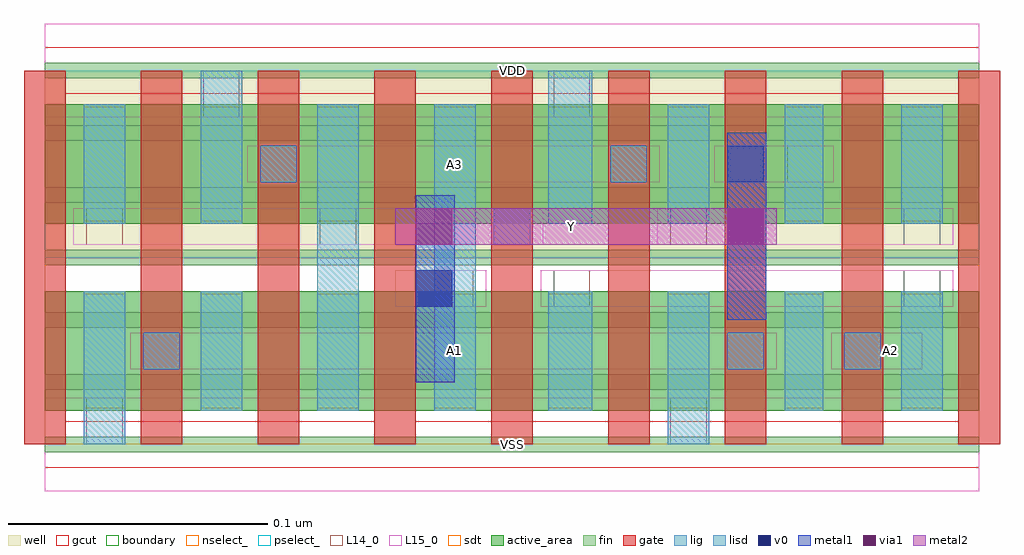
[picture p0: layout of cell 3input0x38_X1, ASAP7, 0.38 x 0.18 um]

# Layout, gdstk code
import gdstk
lib = gdstk.Library(unit=1e-6, precision=1e-09)
def R(c, l, rs):  # rectangles x0, y0, x1, y1
    for r in rs: c.add(gdstk.rectangle(r[:2], r[2:], *l))
def A(c, l, x, y, w, h, nx, ny, dx, dy):  # array of equal rectangles
    R(c, l, [(x+i*dx, y+j*dy, x+i*dx+w, y+j*dy+h) for i in range(nx) for j in range(ny)])
def P(c, l, *ps):  # polygons
    for p in ps: c.add(gdstk.Polygon(p, *l))
well = (1, 0)
fin = (2, 0)
gate = (7, 0)
gcut = (10, 0)
active_area = (11, 0)
nselect_ = (12, 0)
pselect_ = (13, 0)
L14_0 = (14, 0)
L15_0 = (15, 0)
lig = (16, 0)
lisd = (17, 0)
v0 = (18, 0)
metal1 = (19, 0)
metal2 = (20, 0)
via1 = (21, 0)
sdt = (88, 0)
boundary = (100, 0)

c_3input0x38_x1 = lib.new_cell('3input0x38_X1')
R(c_3input0x38_x1, well, [(0,0.072,0.36,0.144)])
A(c_3input0x38_x1, fin, 0, -0.003, 0.36, 0.006, 1, 7, 0, 0.024)
A(c_3input0x38_x1, gate, -0.008, 0, 0.016, 0.144, 9, 1, 0.045, 0)
P(c_3input0x38_x1, gcut, [(0,-0.009),(0,0),(-0.008,0),(-0.008,0.135),(0.008,0.135),(0.008,0.009),(0.127,0.009),(0.127,0.135),(0.143,0.135),(0.143,0.009),(0.352,0.009),(0.352,0.135),(-0.008,0.135),(-0.008,0.144),(0,0.144),(0,0.153),(0.36,0.153),(0.36,0.144),(0.368,0.144),(0.368,0),(0.36,0),(0.36,-0.009)])
R(c_3input0x38_x1, active_area, [(0,0.013,0.36,0.059), (0,0.085,0.36,0.131)])
R(c_3input0x38_x1, nselect_, [(0,0,0.36,0.072)])
R(c_3input0x38_x1, pselect_, [(0,0.072,0.36,0.144)])
R(c_3input0x38_x1, L14_0, [(0.016,0,0.03,0.018), (0.241,0,0.255,0.018), (0.038,0.029,0.052,0.043), (0.263,0.029,0.277,0.043), (0.308,0.029,0.322,0.043), (0.15,0.053,0.165,0.067), (0.196,0.053,0.21,0.067), (0.331,0.053,0.345,0.067), (0.016,0.077,0.03,0.091), (0.106,0.077,0.12,0.091), (0.173,0.077,0.187,0.091), (0.241,0.077,0.255,0.091), (0.331,0.077,0.345,0.091), (0.083,0.101,0.097,0.115), (0.218,0.101,0.232,0.115), (0.286,0.101,0.3,0.115), (0.061,0.126,0.075,0.144), (0.196,0.126,0.21,0.144)])
R(c_3input0x38_x1, L15_0, [(0,-0.018,0.36,0.018), (0.033,0.029,0.282,0.043), (0.303,0.029,0.338,0.043), (0.135,0.053,0.17,0.067), (0.191,0.053,0.35,0.067), (0.011,0.077,0.192,0.091), (0.236,0.077,0.35,0.091), (0.078,0.101,0.237,0.115), (0.258,0.101,0.304,0.115), (0,0.126,0.36,0.162)])
R(c_3input0x38_x1, lig, [(0.038,0.029,0.052,0.043), (0.263,0.029,0.277,0.043), (0.308,0.029,0.322,0.043), (0.173,0.077,0.187,0.091), (0.083,0.101,0.097,0.115), (0.218,0.101,0.232,0.115)])
R(c_3input0x38_x1, lisd, [(0.015,0,0.031,0.059), (0.24,0,0.256,0.059), (0.06,0.013,0.076,0.059), (0.105,0.013,0.121,0.131), (0.15,0.013,0.166,0.131), (0.194,0.013,0.211,0.059), (0.285,0.013,0.3,0.059), (0.33,0.013,0.346,0.059), (0.015,0.085,0.031,0.131), (0.06,0.085,0.076,0.144), (0.194,0.085,0.211,0.144), (0.24,0.085,0.256,0.131), (0.285,0.085,0.3,0.131), (0.33,0.085,0.346,0.131)])
R(c_3input0x38_x1, v0, [(0.143,0.053,0.157,0.067), (0.263,0.101,0.277,0.115)])
R(c_3input0x38_x1, metal1, [(0.143,0.024,0.158,0.096), (0.263,0.048,0.278,0.12)])
R(c_3input0x38_x1, metal2, [(0.135,0.077,0.282,0.091)])
R(c_3input0x38_x1, via1, [(0.143,0.077,0.157,0.091), (0.263,0.077,0.277,0.091)])
A(c_3input0x38_x1, sdt, 0.015, 0.014, 0.016, 0.044, 4, 2, 0.045, 0.072)
R(c_3input0x38_x1, sdt, [(0.194,0.014,0.211,0.058), (0.24,0.014,0.256,0.058), (0.285,0.014,0.3,0.058), (0.33,0.014,0.346,0.058), (0.194,0.086,0.211,0.13), (0.24,0.086,0.256,0.13), (0.285,0.086,0.3,0.13), (0.33,0.086,0.346,0.13)])
R(c_3input0x38_x1, boundary, [(0,0,0.36,0.144)])
c_3input0x38_x1.add(gdstk.Label('A1', (0.158,0.036), layer=15, texttype=251))
c_3input0x38_x1.add(gdstk.Label('VSS', (0.18,0), layer=15, texttype=251))
c_3input0x38_x1.add(gdstk.Label('VDD', (0.18,0.144), layer=15, texttype=251))
c_3input0x38_x1.add(gdstk.Label('A3', (0.158,0.108), layer=15, texttype=251))
c_3input0x38_x1.add(gdstk.Label('VSS', (0.18,0), layer=15, texttype=251))
c_3input0x38_x1.add(gdstk.Label('VDD', (0.18,0.144), layer=15, texttype=251))
c_3input0x38_x1.add(gdstk.Label('VSS', (0.18,0), layer=15, texttype=251))
c_3input0x38_x1.add(gdstk.Label('VDD', (0.18,0.144), layer=15, texttype=251))
c_3input0x38_x1.add(gdstk.Label('A2', (0.326,0.036), layer=15, texttype=251))
c_3input0x38_x1.add(gdstk.Label('VSS', (0.18,0), layer=15, texttype=251))
c_3input0x38_x1.add(gdstk.Label('VDD', (0.18,0.144), layer=15, texttype=251))
c_3input0x38_x1.add(gdstk.Label('VSS', (0.18,0), layer=3, texttype=251))
c_3input0x38_x1.add(gdstk.Label('VSS', (0.18,0), layer=3, texttype=251))
c_3input0x38_x1.add(gdstk.Label('VSS', (0.18,0), layer=3, texttype=251))
c_3input0x38_x1.add(gdstk.Label('VSS', (0.18,0), layer=3, texttype=251))
c_3input0x38_x1.add(gdstk.Label('VDD', (0.18,0.144), layer=1, texttype=251))
c_3input0x38_x1.add(gdstk.Label('VDD', (0.18,0.144), layer=1, texttype=251))
c_3input0x38_x1.add(gdstk.Label('VDD', (0.18,0.144), layer=1, texttype=251))
c_3input0x38_x1.add(gdstk.Label('VDD', (0.18,0.144), layer=1, texttype=251))
c_3input0x38_x1.add(gdstk.Label('Y', (0.203,0.084), layer=20, texttype=251))

lib.write_gds('3input0x38_X1.gds')
